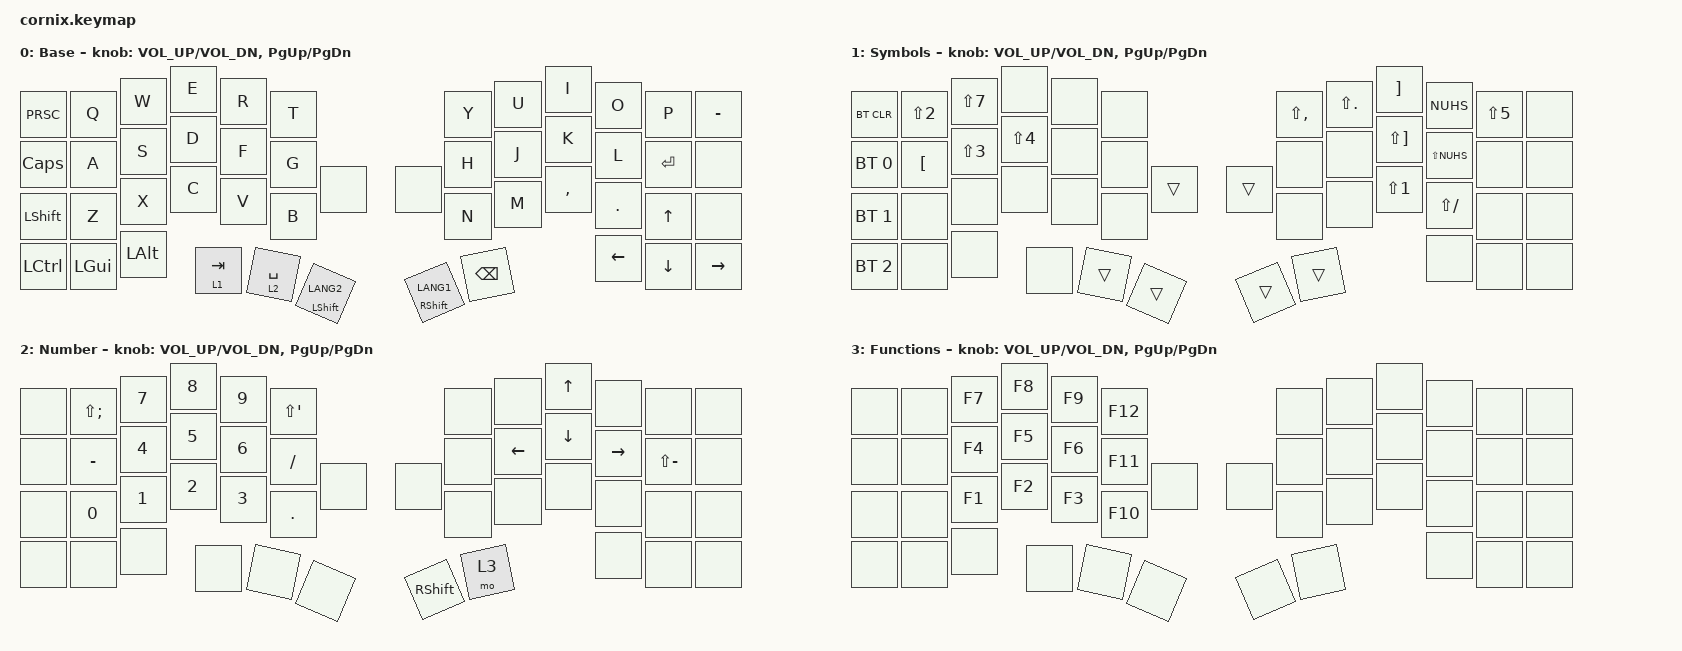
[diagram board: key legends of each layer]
/*
 * Copyright (c) 2020 The ZMK Contributors
 *
 * SPDX-License-Identifier: MIT
 */

/*
 * 2026-05-23: Replaced upstream's complex 8-layer keymap (custom homerow
 * mods, combos, conditional_layers, Win / Adjust / Navi / NumPad / Debug
 * layers) with a slim 4-layer default matching the day-to-day ZMK Studio
 * working state. Intent: a fresh flash or settings reset (cornix_reset.uf2)
 * should land close to actual usage, not the upstream author's untouched
 * setup.
 *
 * 2026-06-02: Re-synced the per-layer `bindings` to the live ZMK Studio
 * working state, captured via the keymap export from zmk-studio-tweaks
 * (Cornix-2026-06-02T14-47-56.keymap). Notable changes vs the 2026-05-23
 * default: Bluetooth keys consolidated onto the Symbols layer only (removed
 * from Number/Functions), the Base-layer right-pinky `!`/`?` dropped to
 * &none, and several JIS symbol slots on Number/Symbols remapped. After a
 * reset, a fresh flash now lands on this exact working state.
 *
 * ZMK Studio interaction:
 *   - Studio overrides per-layer `bindings` via NVS at runtime; the
 *     `bindings` here are the post-reset / pre-Studio-edit defaults.
 *   - Studio does NOT cover `sensor-bindings` (encoders), combos,
 *     behaviors, conditional_layers or macros — those keep being
 *     controlled by this file at runtime regardless of Studio state.
 *     The Studio export omits sensor-bindings, so they are preserved
 *     here by hand.
 */

#include <behaviors.dtsi>
#include <dt-bindings/zmk/bt.h>
#include <dt-bindings/zmk/keys.h>

/ {
    keymap {
        compatible = "zmk,keymap";

        Base {
            display-name = "Base";
            bindings = <
&kp PRSC   &kp Q     &kp W     &kp E      &kp R        &kp T                                                &kp Y            &kp U     &kp I      &kp O     &kp P     &kp MINUS
&kp CAPS   &kp A     &kp S     &kp D      &kp F        &kp G                                                &kp H            &kp J     &kp K      &kp L     &kp RET   &none
&kp LSHFT  &kp Z     &kp X     &kp C      &kp V        &kp B            &none            &none              &kp N            &kp M     &kp COMMA  &kp DOT   &kp UP    &none
&kp LCTL   &kp LGUI  &kp LALT  &lt 1 TAB  &lt 2 SPACE  &mt LSHFT LANG2                                      &mt RSHFT LANG1  &kp BSPC        &kp LEFT  &kp DOWN  &kp RIGHT
            >;
            sensor-bindings = <&inc_dec_kp C_VOL_UP C_VOL_DN &inc_dec_kp PG_UP PG_DN>;
        };

        Symbols {
            display-name = "Symbols";
            bindings = <
&bt BT_CLR    &kp LS(N2)  &kp LS(N7)  &none       &none   &none                          &kp LS(COMMA)  &kp LS(DOT)  &kp RBKT      &kp NUHS      &kp LS(N5)  &none
&bt BT_SEL 0  &kp LBKT    &kp LS(N3)  &kp LS(N4)  &none   &none                          &none          &none        &kp LS(RBKT)  &kp LS(NUHS)  &none       &none
&bt BT_SEL 1  &none       &none       &none       &none   &none      &trans   &trans    &none          &none        &kp LS(N1)    &kp LS(FSLH)  &none       &none
&bt BT_SEL 2  &none       &none       &none       &trans  &trans                         &trans         &trans                &none         &none       &none
            >;
            sensor-bindings = <&inc_dec_kp C_VOL_UP C_VOL_DN &inc_dec_kp PG_UP PG_DN>;
        };

        Number {
            display-name = "Number";
            bindings = <
&none  &kp LS(SEMI)  &kp N7  &kp N8  &kp N9  &kp LS(SQT)                  &none      &none     &kp UP    &none      &none         &none
&none  &kp MINUS     &kp N4  &kp N5  &kp N6  &kp FSLH                     &none      &kp LEFT  &kp DOWN  &kp RIGHT  &kp LS(MINUS)  &none
&none  &kp N0        &kp N1  &kp N2  &kp N3  &kp DOT      &none   &none   &none      &none     &none     &none      &none         &none
&none  &none         &none   &none   &none   &none                        &kp RSHFT  &mo 3          &none      &none         &none
            >;
            sensor-bindings = <&inc_dec_kp C_VOL_UP C_VOL_DN &inc_dec_kp PG_UP PG_DN>;
        };

        Functions {
            display-name = "Functions";
            bindings = <
&none  &none  &kp F7  &kp F8  &kp F9  &kp F12                  &none  &none  &none  &none  &none  &none
&none  &none  &kp F4  &kp F5  &kp F6  &kp F11                  &none  &none  &none  &none  &none  &none
&none  &none  &kp F1  &kp F2  &kp F3  &kp F10  &none  &none    &none  &none  &none  &none  &none  &none
&none  &none  &none   &none   &none   &none                    &none  &none    &none  &none  &none
            >;
            sensor-bindings = <&inc_dec_kp C_VOL_UP C_VOL_DN &inc_dec_kp PG_UP PG_DN>;
        };
    };
};
